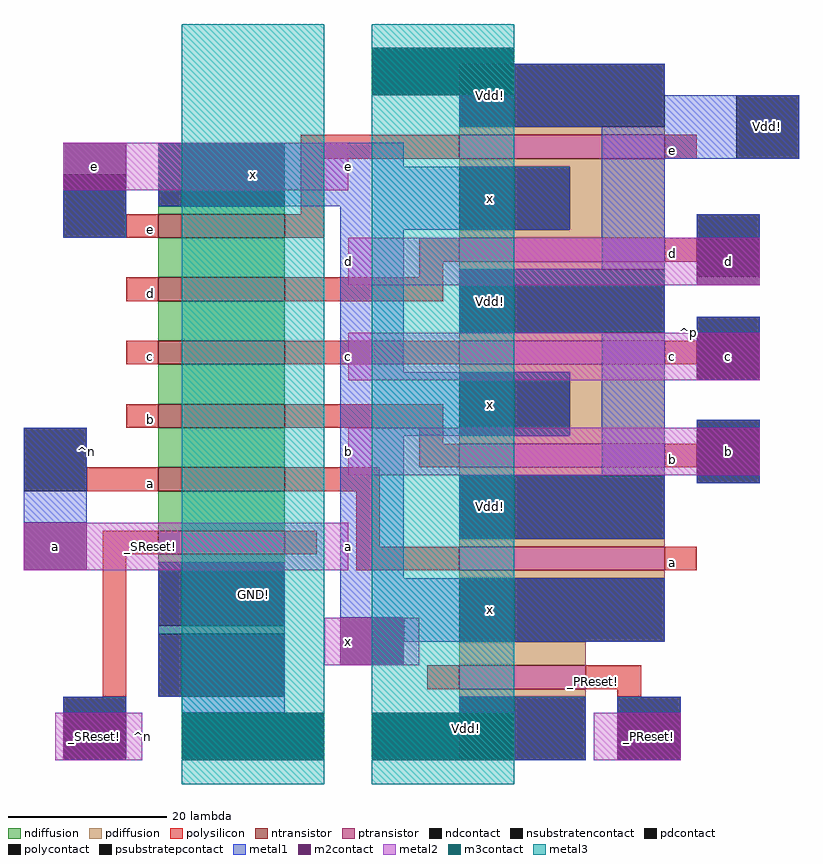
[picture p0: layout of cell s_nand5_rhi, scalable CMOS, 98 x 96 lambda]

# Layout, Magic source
magic
tech scmos
<< ndiffusion >>
rect -24 81 -8 82
rect -24 73 -8 78
rect -24 65 -8 70
rect -24 57 -8 62
rect -24 49 -8 54
rect -24 41 -8 46
rect -24 37 -8 38
rect -24 28 -8 29
<< pdiffusion >>
rect 14 91 40 92
rect 14 87 40 88
rect 28 79 40 87
rect 14 78 40 79
rect 14 74 40 75
rect 14 65 40 66
rect 14 61 40 62
rect 28 53 40 61
rect 14 52 40 53
rect 14 48 40 49
rect 14 39 40 40
rect 14 35 40 36
rect 14 24 30 27
rect 14 20 30 21
<< ntransistor >>
rect -24 78 -8 81
rect -24 70 -8 73
rect -24 62 -8 65
rect -24 54 -8 57
rect -24 46 -8 49
rect -24 38 -8 41
<< ptransistor >>
rect 14 88 40 91
rect 14 75 40 78
rect 14 62 40 65
rect 14 49 40 52
rect 14 36 40 39
rect 14 21 30 24
<< polysilicon >>
rect -6 88 14 91
rect 40 88 44 91
rect -6 81 -3 88
rect -28 78 -24 81
rect -8 78 -3 81
rect 9 75 14 78
rect 40 75 44 78
rect 9 73 12 75
rect -28 70 -24 73
rect -8 70 12 73
rect -28 62 -24 65
rect -8 62 14 65
rect 40 62 44 65
rect -28 54 -24 57
rect -8 54 12 57
rect 9 52 12 54
rect 9 49 14 52
rect 40 49 44 52
rect -33 46 -24 49
rect -8 46 4 49
rect -31 38 -24 41
rect -8 38 -4 41
rect 1 39 4 46
rect -31 20 -28 38
rect 1 36 14 39
rect 40 36 44 39
rect 10 21 14 24
rect 30 21 37 24
rect 34 20 37 21
<< ndcontact >>
rect -24 82 -8 90
rect -24 29 -8 37
<< pdcontact >>
rect 14 92 40 100
rect 14 79 28 87
rect 14 66 40 74
rect 14 53 28 61
rect 14 40 40 48
rect 14 27 40 35
rect 14 12 30 20
<< psubstratepcontact >>
rect -24 20 -8 28
<< nsubstratencontact >>
rect 49 88 57 96
<< polycontact >>
rect -36 78 -28 86
rect 44 73 52 81
rect -41 46 -33 54
rect 44 60 52 68
rect 44 47 52 55
rect -36 12 -28 20
rect 34 12 42 20
<< metal1 >>
rect 21 96 40 100
rect 14 92 57 96
rect -36 78 -28 84
rect -24 87 7 90
rect 32 88 57 92
rect -24 82 28 87
rect -1 79 28 82
rect -1 61 7 79
rect 32 74 40 88
rect 14 66 40 74
rect 44 78 52 81
rect -41 42 -33 54
rect -1 53 28 61
rect -24 20 -8 37
rect -1 35 7 53
rect 32 48 40 66
rect 44 66 52 68
rect 14 40 40 48
rect 44 54 52 55
rect 44 47 52 48
rect -1 30 40 35
rect 7 27 40 30
rect -36 18 -28 20
rect -21 18 -8 20
rect 14 18 30 20
rect 21 12 30 18
rect 34 18 42 20
<< m2contact >>
rect 3 96 21 102
rect -36 84 -28 90
rect 44 72 52 78
rect -41 36 -33 42
rect 44 60 52 66
rect 44 48 52 54
rect -1 24 7 30
rect -36 12 -28 18
rect -21 12 -3 18
rect 3 12 21 18
rect 34 12 42 18
<< metal2 >>
rect -36 84 0 90
rect 0 72 52 78
rect 0 60 52 66
rect 0 48 52 54
rect -41 36 0 42
rect -3 24 9 30
rect -37 12 -26 18
rect 31 12 42 18
<< m3contact >>
rect 3 96 21 102
rect -21 12 -3 18
rect 3 12 21 18
<< metal3 >>
rect -21 9 -3 105
rect 3 9 21 105
<< labels >>
rlabel polysilicon 31 22 31 22 1 _PReset!
rlabel metal1 18 31 18 31 1 x
rlabel metal1 18 44 18 44 5 Vdd!
rlabel metal1 18 57 18 57 5 x
rlabel metal1 18 70 18 70 1 Vdd!
rlabel metal1 18 83 18 83 1 x
rlabel metal1 18 96 18 96 5 Vdd!
rlabel metal1 -12 33 -12 33 1 GND!
rlabel metal1 -12 86 -12 86 1 x
rlabel polysilicon 41 37 41 37 3 a
rlabel polysilicon 41 50 41 50 3 b
rlabel polysilicon 41 63 41 63 3 c
rlabel polysilicon 41 76 41 76 3 d
rlabel polysilicon 41 89 41 89 3 e
rlabel metal2 38 15 38 15 1 _PReset!
rlabel polysilicon -25 47 -25 47 3 a
rlabel polysilicon -25 79 -25 79 3 e
rlabel polysilicon -25 71 -25 71 3 d
rlabel polysilicon -25 63 -25 63 3 c
rlabel polysilicon -25 55 -25 55 3 b
rlabel polysilicon -25 39 -25 39 3 _SReset!
rlabel m2contact 15 16 15 16 1 Vdd!
rlabel metal2 -32 15 -32 15 3 _SReset!
rlabel metal2 -26 12 -26 18 3 ^n
rlabel metal2 0 24 0 30 1 x
rlabel metal2 0 36 0 42 7 a
rlabel metal2 0 48 0 54 3 b
rlabel metal2 0 60 0 66 3 c
rlabel metal2 0 72 0 78 3 d
rlabel metal2 0 84 0 90 3 e
rlabel space -42 11 -24 91 7 ^n
rlabel metal1 53 92 53 92 7 Vdd!
rlabel space 28 31 58 101 3 ^p
rlabel metal2 -32 87 -32 87 1 e
rlabel metal2 -37 39 -37 39 3 a
rlabel metal2 48 51 48 51 1 b
rlabel metal2 48 63 48 63 1 c
rlabel metal2 48 75 48 75 1 d
<< end >>
